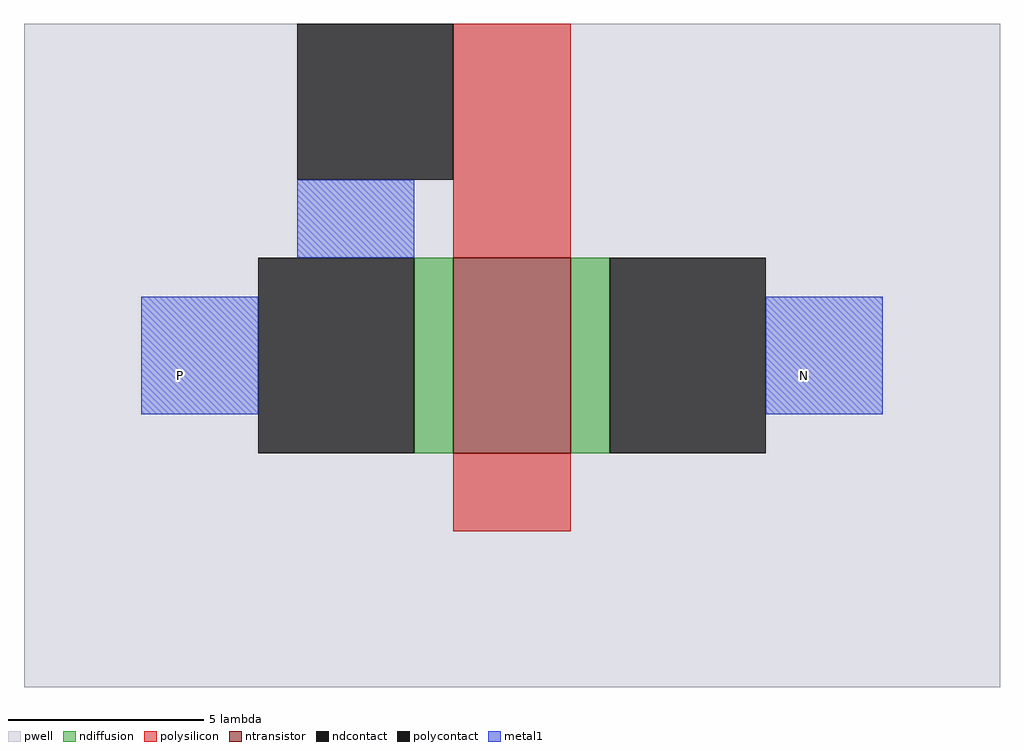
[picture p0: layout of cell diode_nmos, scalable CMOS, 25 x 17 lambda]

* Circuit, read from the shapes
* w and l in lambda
.subckt diode_nmos N P
M1 N P P VSUBS nfet w=5 l=3
.ends

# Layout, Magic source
magic
tech scmos
<< pwell >>
rect 0 0 25 17
<< ntransistor >>
rect 11 6 14 11
<< ndiffusion >>
rect 10 6 11 11
rect 14 6 15 11
<< ndcontact >>
rect 6 6 10 11
rect 15 6 19 11
<< polysilicon >>
rect 11 11 14 17
rect 11 4 14 6
<< polycontact >>
rect 7 13 11 17
<< metal1 >>
rect 7 11 10 13
rect 3 7 6 10
rect 19 7 22 10
<< labels >>
rlabel metal1 4 8 4 8 3 P
rlabel metal1 20 8 20 8 1 N
<< end >>
